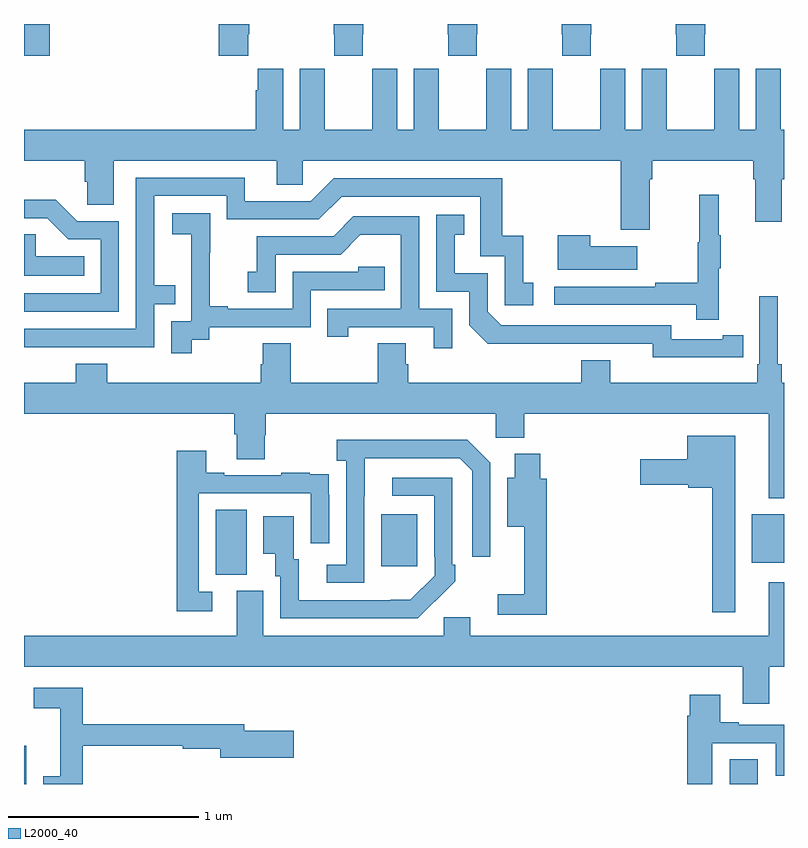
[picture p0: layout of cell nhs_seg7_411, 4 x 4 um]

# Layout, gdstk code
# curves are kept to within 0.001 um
import gdstk
lib = gdstk.Library(unit=1e-6, precision=1e-09)
def R(c, l, rs):  # rectangles x0, y0, x1, y1
    for r in rs: c.add(gdstk.rectangle(r[:2], r[2:], *l))
def P(c, l, *ps):  # polygons
    for p in ps: c.add(gdstk.Polygon(p, *l))
L2000_40 = (2000, 40)

nhs_seg7_411 = lib.new_cell('nhs_seg7_411')
R(nhs_seg7_411, L2000_40, [(143,1000,143.013,1000.201), (146.714,1000,146.863,1000.13), (144.008,1001.101,144.172,1001.444), (144.881,1001.145,145.069,1001.419), (146.831,1001.165,147,1001.419), (143,1003.833,143.135,1004)])
P(nhs_seg7_411, L2000_40, [(145.383,1003.945),(145.386,1003.945),(145.386,1004),(145.231,1004),(145.231,1003.945),(145.233,1003.945),(145.233,1003.833),(145.383,1003.833)],
  [(144.783,1003.945),(144.786,1003.945),(144.786,1004),(144.631,1004),(144.631,1003.945),(144.633,1003.945),(144.633,1003.833),(144.783,1003.833)],
  [(144.179,1003.945),(144.186,1003.945),(144.186,1004),(144.026,1004),(144.026,1003.833),(144.179,1003.833)],
  [(145.983,1003.945),(145.986,1003.945),(145.986,1004),(145.831,1004),(145.831,1003.945),(145.833,1003.945),(145.833,1003.833),(145.983,1003.833)],
  [(146.583,1003.945),(146.586,1003.945),(146.586,1004),(146.431,1004),(146.431,1003.945),(146.433,1003.945),(146.433,1003.833),(146.583,1003.833)],
  [(146.293,1003.184),(146.306,1003.184),(146.306,1003.28),(146.837,1003.28),(146.837,1003.184),(146.849,1003.184),(146.849,1002.96),(146.989,1002.96),(146.989,1003.184),(147,1003.184),(147,1003.444),(146.983,1003.444),(146.983,1003.652),(146.982,1003.652),(146.982,1003.765),(146.852,1003.765),(146.852,1003.444),(146.764,1003.444),(146.764,1003.765),(146.634,1003.765),(146.634,1003.652),(146.633,1003.652),(146.633,1003.444),(146.383,1003.444),(146.383,1003.652),(146.382,1003.652),(146.382,1003.765),(146.252,1003.765),(146.252,1003.444),(146.164,1003.444),(146.164,1003.765),(146.034,1003.765),(146.034,1003.652),(146.033,1003.652),(146.033,1003.444),(145.783,1003.444),(145.783,1003.652),(145.782,1003.652),(145.782,1003.765),(145.652,1003.765),(145.652,1003.444),(145.564,1003.444),(145.564,1003.765),(145.434,1003.765),(145.434,1003.652),(145.433,1003.652),(145.433,1003.444),(145.183,1003.444),(145.183,1003.652),(145.182,1003.652),(145.182,1003.765),(145.052,1003.765),(145.052,1003.444),(144.964,1003.444),(144.964,1003.765),(144.834,1003.765),(144.834,1003.652),(144.833,1003.652),(144.833,1003.444),(144.583,1003.444),(144.583,1003.652),(144.582,1003.652),(144.582,1003.765),(144.452,1003.765),(144.452,1003.444),(144.364,1003.444),(144.364,1003.765),(144.23,1003.765),(144.23,1003.652),(144.221,1003.652),(144.221,1003.444),(143,1003.444),(143,1003.28),(143.321,1003.28),(143.321,1003.171),(143.334,1003.171),(143.334,1003.048),(143.473,1003.048),(143.473,1003.28),(144.329,1003.28),(144.329,1003.153),(144.468,1003.153),(144.468,1003.28),(146.141,1003.28),(146.141,1002.918),(146.293,1002.918)],
  [(143.189,1002.3),(143.685,1002.3),(143.685,1002.525),(143.795,1002.525),(143.795,1002.626),(143.685,1002.626),(143.685,1003.095),(144.066,1003.095),(144.066,1002.972),(144.552,1002.972),(144.672,1003.092),(145.401,1003.092),(145.401,1002.777),(145.53,1002.777),(145.53,1002.519),(145.681,1002.519),(145.681,1002.639),(145.628,1002.639),(145.628,1002.886),(145.517,1002.886),(145.517,1003.188),(144.63,1003.188),(144.51,1003.068),(144.163,1003.068),(144.163,1003.191),(143.589,1003.191),(143.589,1002.396),(143,1002.396),(143,1002.299)],
  [(146.657,1002.715),(146.668,1002.715),(146.668,1002.889),(146.657,1002.889),(146.657,1003.102),(146.554,1003.102),(146.554,1002.852),(146.547,1002.852),(146.547,1002.638),(146.323,1002.638),(146.323,1002.618),(145.791,1002.618),(145.791,1002.522),(146.539,1002.522),(146.539,1002.444),(146.657,1002.444)],
  [(143.499,1002.963),(143.28,1002.963),(143.167,1003.076),(143,1003.076),(143,1002.978),(143.123,1002.978),(143.234,1002.867),(143.403,1002.867),(143.403,1002.582),(143,1002.582),(143,1002.486),(143.499,1002.486)],
  [(143.884,1002.337),(143.976,1002.337),(143.976,1002.405),(144.51,1002.405),(144.51,1002.6),(144.899,1002.6),(144.899,1002.723),(144.759,1002.723),(144.759,1002.696),(144.414,1002.696),(144.414,1002.501),(144.073,1002.501),(144.073,1002.514),(143.978,1002.514),(143.978,1002.797),(143.979,1002.797),(143.979,1003.003),(143.781,1003.003),(143.781,1002.893),(143.879,1002.893),(143.879,1002.665),(143.88,1002.665),(143.88,1002.435),(143.775,1002.435),(143.775,1002.267),(143.884,1002.267)],
  [(146.678,1002.246),(146.786,1002.246),(146.786,1002.362),(146.678,1002.362),(146.678,1002.342),(146.406,1002.342),(146.406,1002.414),(145.512,1002.414),(145.44,1002.486),(145.44,1002.687),(145.267,1002.687),(145.267,1002.891),(145.316,1002.891),(145.316,1002.997),(145.17,1002.997),(145.17,1002.591),(145.344,1002.591),(145.344,1002.414),(145.442,1002.317),(146.31,1002.318),(146.31,1002.245)],
  [(145.254,1002.501),(145.08,1002.501),(145.08,1002.987),(144.734,1002.987),(144.629,1002.882),(144.226,1002.882),(144.226,1002.697),(144.177,1002.697),(144.177,1002.588),(144.324,1002.588),(144.324,1002.786),(144.666,1002.786),(144.77,1002.89),(144.984,1002.89),(144.984,1002.501),(144.595,1002.501),(144.595,1002.354),(144.706,1002.354),(144.706,1002.405),(145.157,1002.405),(145.157,1002.294),(145.254,1002.294)],
  [(143.318,1002.778),(143.061,1002.778),(143.061,1002.893),(143,1002.893),(143,1002.674),(143.318,1002.674)],
  [(146.227,1002.829),(145.979,1002.829),(145.979,1002.889),(145.808,1002.889),(145.808,1002.707),(146.227,1002.707)],
  [(144.257,1002.21),(144.245,1002.21),(144.245,1002.112),(143.438,1002.112),(143.438,1002.211),(143.273,1002.211),(143.273,1002.112),(143,1002.112),(143,1001.948),(144.107,1001.948),(144.107,1001.842),(144.119,1001.842),(144.119,1001.71),(144.267,1001.71),(144.267,1001.835),(144.272,1001.835),(144.272,1001.948),(145.482,1001.948),(145.482,1001.822),(145.634,1001.822),(145.634,1001.948),(146.921,1001.948),(146.921,1001.504),(147,1001.504),(147,1002.112),(146.987,1002.112),(146.987,1002.208),(146.968,1002.208),(146.968,1002.568),(146.871,1002.568),(146.871,1002.208),(146.858,1002.208),(146.858,1002.112),(146.086,1002.112),(146.086,1002.229),(145.934,1002.229),(145.934,1002.112),(145.022,1002.112),(145.022,1002.21),(145.009,1002.21),(145.009,1002.32),(144.862,1002.32),(144.862,1002.112),(144.405,1002.112),(144.405,1002.32),(144.257,1002.32)],
  [(146.743,1001.833),(146.492,1001.833),(146.492,1001.71),(146.244,1001.71),(146.244,1001.576),(146.496,1001.576),(146.496,1001.558),(146.622,1001.558),(146.622,1000.905),(146.743,1000.905)],
  [(144.792,1001.515),(144.793,1001.715),(145.293,1001.715),(145.359,1001.649),(145.359,1001.196),(145.455,1001.196),(145.455,1001.691),(145.334,1001.812),(144.645,1001.812),(144.645,1001.702),(144.696,1001.702),(144.696,1001.154),(144.594,1001.154),(144.594,1001.058),(144.792,1001.058)],
  [(143.992,1001.013),(143.919,1001.013),(143.919,1001.529),(144.51,1001.529),(144.51,1001.268),(144.606,1001.268),(144.606,1001.522),(144.605,1001.522),(144.605,1001.631),(144.503,1001.631),(144.503,1001.638),(144.355,1001.638),(144.355,1001.625),(144.055,1001.625),(144.055,1001.638),(143.959,1001.638),(143.959,1001.755),(143.803,1001.755),(143.803,1000.908),(143.992,1000.908)],
  [(145.751,1001.607),(145.718,1001.607),(145.718,1001.737),(145.583,1001.737),(145.583,1001.611),(145.544,1001.611),(145.544,1001.354),(145.634,1001.354),(145.634,1000.999),(145.494,1000.999),(145.494,1000.89),(145.751,1000.89)],
  [(145.163,1000.963),(145.164,1000.962),(145.269,1001.067),(145.269,1001.155),(145.254,1001.155),(145.254,1001.613),(144.939,1001.613),(144.939,1001.517),(145.158,1001.517),(145.158,1001.197),(145.161,1001.197),(145.161,1001.097),(145.033,1000.969),(144.445,1000.968),(144.445,1001.184),(144.421,1001.184),(144.421,1001.41),(144.26,1001.41),(144.26,1001.213),(144.323,1001.213),(144.323,1001.094),(144.348,1001.094),(144.348,1000.872),(145.072,1000.872)],
  [(146.923,1000.616),(147,1000.616),(147,1001.062),(146.921,1001.062),(146.921,1000.78),(145.348,1000.78),(145.348,1000.878),(145.209,1000.878),(145.209,1000.78),(144.259,1000.78),(144.259,1001.016),(144.119,1001.016),(144.119,1000.78),(143,1000.78),(143,1000.616),(146.783,1000.616),(146.783,1000.422),(146.923,1000.422)],
  [(143.309,1000.201),(143.836,1000.201),(143.836,1000.186),(144.032,1000.186),(144.032,1000.139),(144.421,1000.139),(144.421,1000.281),(144.16,1000.281),(144.16,1000.315),(143.309,1000.315),(143.309,1000.506),(143.052,1000.506),(143.052,1000.398),(143.192,1000.398),(143.192,1000.042),(143.102,1000.042),(143.102,1000),(143.309,1000)],
  [(146.623,1000.215),(146.957,1000.215),(146.957,1000.044),(147,1000.044),(147,1000.311),(146.761,1000.311),(146.761,1000.324),(146.665,1000.324),(146.665,1000.471),(146.504,1000.471),(146.504,1000.358),(146.492,1000.358),(146.492,1000),(146.623,1000)])

lib.write_gds('nhs_seg7_411.gds')
